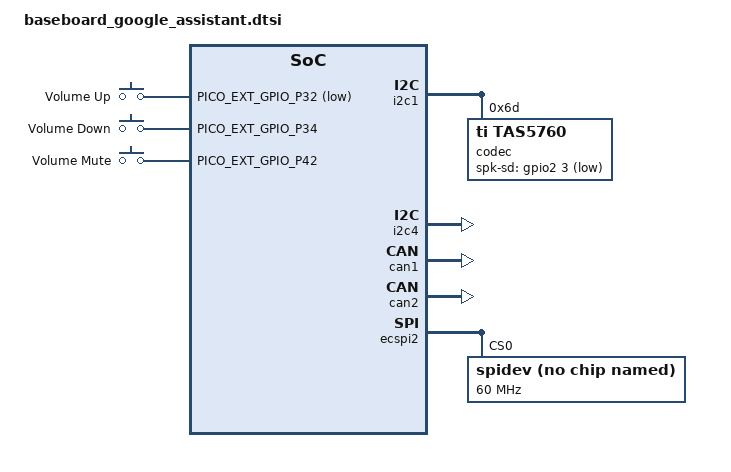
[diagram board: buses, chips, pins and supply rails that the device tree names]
/*
 * Copyright 2016 Technexion Ltd.
 * Copyright 2017 NXP
 *
 * Author: Wig Cheng <wig.cheng@technexion.com>
 *	   Richard Hu <richard.hu@technexion.com>
 *	   Tapani Utriainen <tapani@technexion.com>
 *
 * This program is free software; you can redistribute it and/or modify
 * it under the terms of the GNU General Public License version 2 as
 * published by the Free Software Foundation.
 *
 */

#include <tnmacro.h>

/ {
	gpio-edm {
		compatible = "gpio-edm";
		pinctrl-names = "default";
		pinctrl-0 = <&pinctrl_gpio>;

		gpio_p24 {
			label = "GPIO_P24";
			gpios = <&PICO_EXT_GPIO_P24 1>;
			dir   = "in";
		};

		/* LED2 for GPIO */
		gpio_p25 {
			label = "GPIO_P25";
			gpios = <&PICO_EXT_GPIO_P25 1>;
			dir   = "out";
		};

		/* Not used */
		gpio_p26 {
			label = "GPIO_P26";
			gpios = <&PICO_EXT_GPIO_P26 1>;
			dir   = "out";
		};

		/* Audio fault in */
		gpio_p28 {
			label = "GPIO_P28";
			gpios = <&PICO_EXT_GPIO_P28 GPIO_ACTIVE_HIGH>;
			dir   = "in";
		};

		/* Speaker shutdown in */
		gpio_p30 {
			label = "GPIO_P30";
			gpios = <&PICO_EXT_GPIO_P30 GPIO_ACTIVE_HIGH>;
			dir   = "in";
		};


		gpio-keys {
		    compatible = "gpio-keys";
		    pinctrl-names = "default";

		    volume-up {
			label = "Volume Up";
			gpios = <&PICO_EXT_GPIO_P32 GPIO_ACTIVE_LOW>;
			gpio-key;
			linux,code = <KEY_VOLUMEUP>;
		    };

		    volume-down {
			label = "Volume Down";
			gpios = <&PICO_EXT_GPIO_P34 GPIO_ACTIVE_HIGH>;
			gpio-key;
			linux,code = <KEY_VOLUMEDOWN>;
		    };

		    volume-mute {
			label = "Volume Mute";
			gpios = <&PICO_EXT_GPIO_P42 GPIO_ACTIVE_HIGH>;
			gpio-key;
			linux,code = <KEY_MUTE>;
		    };
		};

		gpio_p48 {
			label = "GPIO_P48";
			gpios = <&PICO_EXT_GPIO_P48 GPIO_ACTIVE_HIGH>;
			dir   = "in";
		};
	};

	sound {
		compatible = "fsl,imx-tas5760",
			     "fsl,imx-audio-tas5760";
		model = "audio-tas5760";
		cpu-dai = <&sai1>;
		audio-codec = <&codec>;
		assigned-clocks = <&clks IMX7D_AUDIO_MCLK_ROOT_SRC>,
			          <&clks IMX7D_AUDIO_MCLK_ROOT_CLK>;
		assigned-clock-parents = <&clks IMX7D_PLL_AUDIO_POST_DIV>;
		assigned-clock-rates = <0>, <12288000>;
		pinctrl-names = "default";
		pinctrl-0 = <&pinctrl_sai1_mclk>;
	};
};


&i2c1 {
	status = "okay";

	codec: tas5760@6d {
		compatible = "ti,tas5760";
		reg = <0x6d>;
		spk-sd = <&gpio2 3 GPIO_ACTIVE_LOW>;
		clocks = <&clks IMX7D_AUDIO_MCLK_ROOT_CLK>;
		clock-names = "mclk";
		#sound-dai-cells = <0>;
	};
};

&i2c4 {
	status = "okay";
};

&can1 {
	status = "okay";
};

&can2 {
	status = "okay";
};

&ecspi2 {
	status = "okay";

	spidev@0 {
		compatible = "rohm,dh2228fv";
		spi-max-frequency = <60000000>;
		reg = <0>;
	};
};
